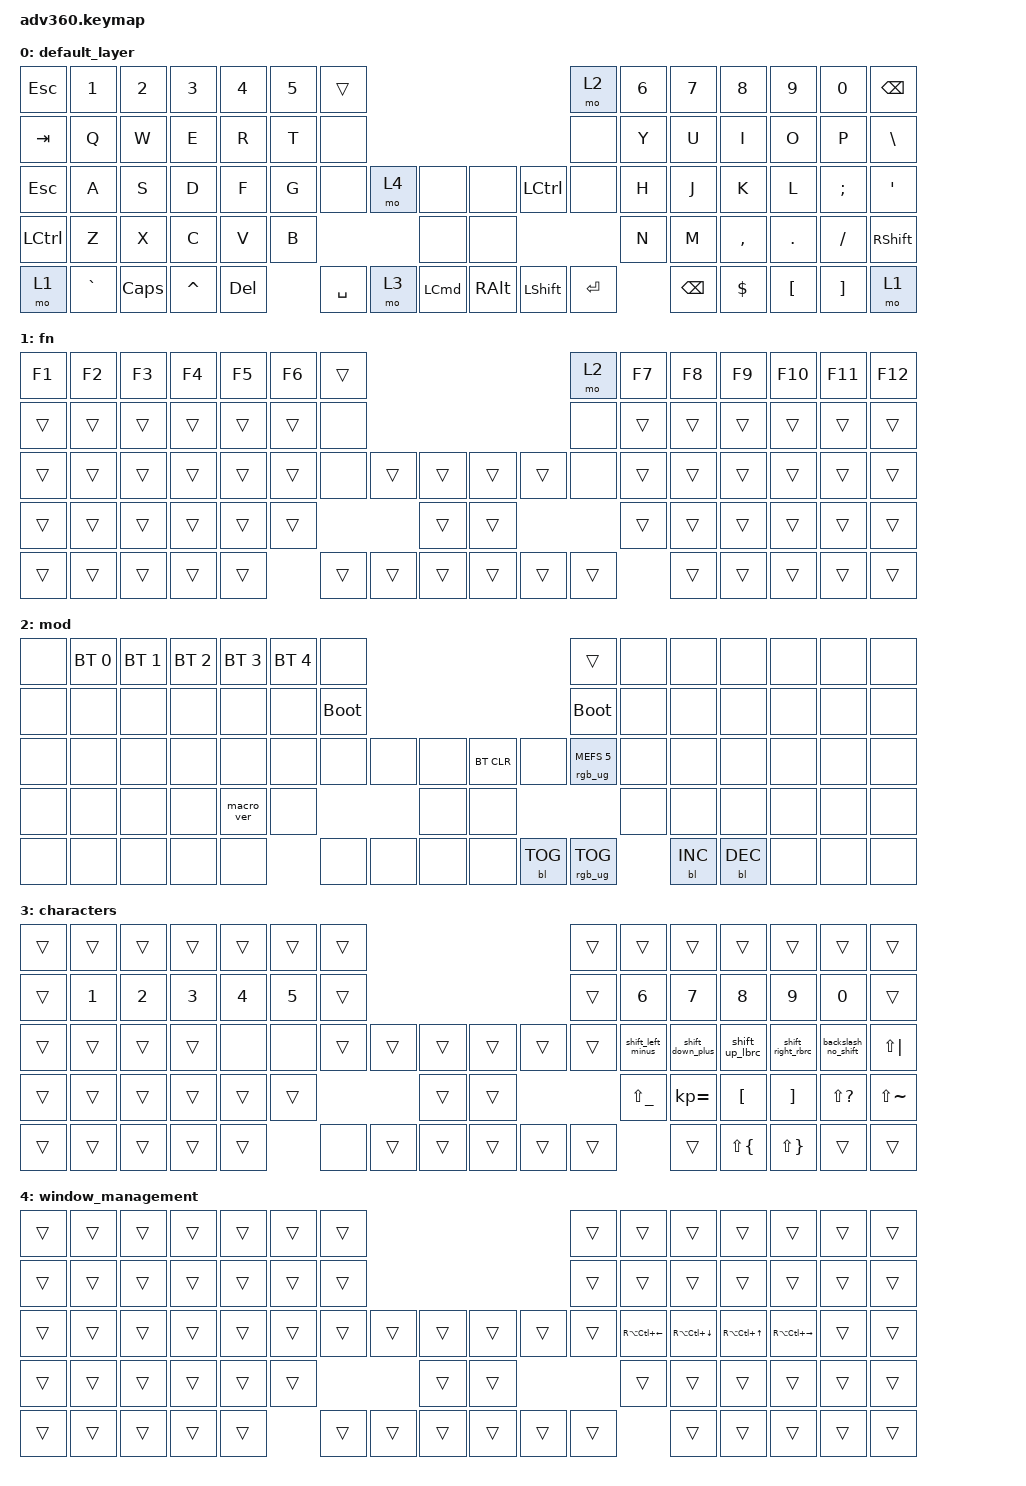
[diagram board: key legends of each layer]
#include <behaviors.dtsi>
#include <dt-bindings/zmk/backlight.h>
#include <dt-bindings/zmk/bt.h>
#include <dt-bindings/zmk/keys.h>
#include <dt-bindings/zmk/rgb.h>

/ {
    behaviors {
        #include "macros.dtsi"
      #include "version.dtsi"
      #ifndef VERSION_MACRO

        macro_ver: macro_ver {
            compatible = "zmk,behavior-macro";
            label = "macro_version";
            #binding-cells = <0>;
            bindings = <&kp RET>;
        };

        #endif

        hm: homerow_mods {
            compatible = "zmk,behavior-hold-tap";
            label = "HOMEROW_MODS";
            #binding-cells = <2>;
            tapping-term-ms = <200>;
            quick_tap_ms = <175>;
            flavor = "tap-preferred";
            bindings = <&kp>, <&kp>;
        };

        shift_left_minus: shift_left_minus {
            compatible = "zmk,behavior-mod-morph";
            label = "SHIFT_LEFT_MINUS";
            bindings = <&kp LEFT>, <&kp MINUS>;

            #binding-cells = <0>;
            mods = <(MOD_LSFT)>;
        };

        shift_down_plus: shift_down_plus {
            compatible = "zmk,behavior-mod-morph";
            label = "SHIFT_DOWN_PLUS";
            bindings = <&kp DOWN>, <&kp PLUS>;

            #binding-cells = <0>;
            mods = <(MOD_LSFT)>;
        };

        shift_up_lbrc: shift_up_lbrc {
            compatible = "zmk,behavior-mod-morph";
            label = "SHIFT_UP_LBRC";
            bindings = <&kp UP>, <&kp LEFT_BRACKET>;

            #binding-cells = <0>;
            mods = <(MOD_LSFT)>;
        };

        shift_right_rbrc: shift_right_rbrc {
            compatible = "zmk,behavior-mod-morph";
            label = "SHIFT_RIGHT_RBRC";
            bindings = <&kp RIGHT>, <&kp RIGHT_BRACKET>;

            #binding-cells = <0>;
            mods = <(MOD_LSFT)>;
        };

        backslash_no_shift: backslash_no_shift {
            compatible = "zmk,behavior-mod-morph";
            label = "BACKSLASH_NO_SHIFT";
            bindings = <&kp BACKSLASH>, <&kp BACKSLASH>;

            #binding-cells = <0>;
            mods = <(MOD_LSFT)>;
        };
    };

    macros {
    };

    keymap {
        compatible = "zmk,keymap";

        default_layer {
            bindings = <
&kp ESCAPE  &kp N1     &kp N2    &kp N3     &kp N4      &kp N5  &trans                                                    &mo 2      &kp N6  &kp N7         &kp N8      &kp N9    &kp N0    &kp BACKSPACE
&kp TAB     &kp Q      &kp W     &kp E      &kp R       &kp T   &none                                                     &none      &kp Y   &kp U          &kp I       &kp O     &kp P     &kp BSLH
&kp ESC     &kp A      &kp S     &kp D      &kp F       &kp G   &none      &mo 4  &none         &none     &kp LCTRL       &none      &kp H   &kp J          &kp K       &kp L     &kp SEMI  &kp SQT
&kp LCTRL   &kp Z      &kp X     &kp C      &kp V       &kp B                     &none         &none                                &kp N   &kp M          &kp COMMA   &kp DOT   &kp FSLH  &kp RSHFT
&mo 1       &kp GRAVE  &kp CAPS  &kp CARET  &kp DELETE          &kp SPACE  &mo 3  &kp LCMD      &kp RALT  &kp LEFT_SHIFT  &kp ENTER          &kp BACKSPACE  &kp DOLLAR  &kp LBKT  &kp RBKT  &mo 1
            >;
        };

        fn {
            bindings = <
&kp F1  &kp F2  &kp F3  &kp F4  &kp F5  &kp F6  &trans                                      &mo 2   &kp F7  &kp F8  &kp F9  &kp F10  &kp F11  &kp F12
&trans  &trans  &trans  &trans  &trans  &trans  &none                                       &none   &trans  &trans  &trans  &trans   &trans   &trans
&trans  &trans  &trans  &trans  &trans  &trans  &none   &trans  &trans      &trans  &trans  &none   &trans  &trans  &trans  &trans   &trans   &trans
&trans  &trans  &trans  &trans  &trans  &trans                  &trans      &trans                  &trans  &trans  &trans  &trans   &trans   &trans
&trans  &trans  &trans  &trans  &trans          &trans  &trans  &trans      &trans  &trans  &trans          &trans  &trans  &trans   &trans   &trans
            >;
        };

        mod {
            bindings = <
&none  &bt BT_SEL 0  &bt BT_SEL 1  &bt BT_SEL 2  &bt BT_SEL 3  &bt BT_SEL 4  &none                                                  &trans                  &none  &none       &none       &none  &none  &none
&none  &none         &none         &none         &none         &none         &bootloader                                            &bootloader             &none  &none       &none       &none  &none  &none
&none  &none         &none         &none         &none         &none         &none        &none  &none      &bt BT_CLR  &none       &rgb_ug RGB_MEFS_CMD 5  &none  &none       &none       &none  &none  &none
&none  &none         &none         &none         &macro_ver    &none                             &none      &none                                           &none  &none       &none       &none  &none  &none
&none  &none         &none         &none         &none                       &none        &none  &none      &none       &bl BL_TOG  &rgb_ug RGB_TOG                &bl BL_INC  &bl BL_DEC  &none  &none  &none
            >;
        };

        characters {
            bindings = <
&trans  &trans  &trans  &trans  &trans  &trans  &trans                                      &trans  &trans             &trans            &trans          &trans             &trans               &trans
&trans  &kp N1  &kp N2  &kp N3  &kp N4  &kp N5  &trans                                      &trans  &kp N6             &kp N7            &kp N8          &kp N9             &kp N0               &trans
&trans  &trans  &trans  &trans  &none   &none   &trans  &trans  &trans      &trans  &trans  &trans  &shift_left_minus  &shift_down_plus  &shift_up_lbrc  &shift_right_rbrc  &backslash_no_shift  &kp LS(PIPE)
&trans  &trans  &trans  &trans  &trans  &trans                  &trans      &trans                  &kp LS(UNDER)      &kp KP_EQUAL      &kp LBKT        &kp RBKT           &kp LS(QMARK)        &kp LS(TILDE)
&trans  &trans  &trans  &trans  &trans          &none   &trans  &trans      &trans  &trans  &trans                     &trans            &kp LS(LBRC)    &kp LS(RBRC)       &trans               &trans
            >;
        };

        window_management {
            bindings = <
&trans  &trans  &trans  &trans  &trans  &trans  &trans                                      &trans  &trans            &trans            &trans          &trans             &trans  &trans
&trans  &trans  &trans  &trans  &trans  &trans  &trans                                      &trans  &trans            &trans            &trans          &trans             &trans  &trans
&trans  &trans  &trans  &trans  &trans  &trans  &trans  &trans  &trans      &trans  &trans  &trans  &kp RA(LC(LEFT))  &kp RA(LC(DOWN))  &kp RA(LC(UP))  &kp RA(LC(RIGHT))  &trans  &trans
&trans  &trans  &trans  &trans  &trans  &trans                  &trans      &trans                  &trans            &trans            &trans          &trans             &trans  &trans
&trans  &trans  &trans  &trans  &trans          &trans  &trans  &trans      &trans  &trans  &trans                    &trans            &trans          &trans             &trans  &trans
            >;
        };
    };
};
